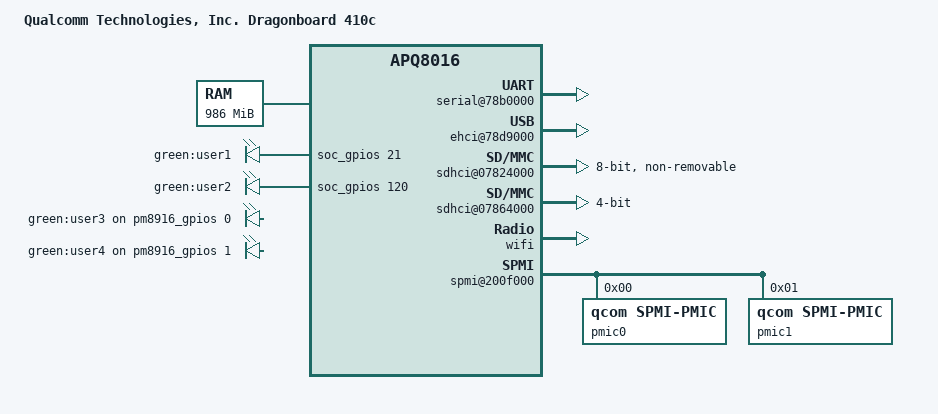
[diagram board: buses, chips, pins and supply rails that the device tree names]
/*
 * Qualcomm APQ8016 based Dragonboard 410C board device tree source
 *
 * (C) Copyright 2015 Mateusz Kulikowski <mateusz.kulikowski@gmail.com>
 *
 * SPDX-License-Identifier:	GPL-2.0+
 */

/dts-v1/;

#include "skeleton64.dtsi"

/ {
	model = "Qualcomm Technologies, Inc. Dragonboard 410c";
	compatible = "qcom,dragonboard", "qcom,apq8016-sbc";
	qcom,msm-id = <0xce 0x0 0xf8 0x0 0xf9 0x0 0xfa 0x0 0xf7 0x0>;
	qcom,board-id = <0x10018 0x0>;
	#address-cells = <0x2>;
	#size-cells = <0x2>;

	memory {
		device_type = "memory";
		reg = <0 0x80000000 0 0x3da00000>;
	};

	reserved-memory {
		#address-cells = <2>;
		#size-cells = <2>;
		ranges;
	};

	chosen {
		stdout-path = "/soc/serial@78b0000";
	};

	soc {
		#address-cells = <0x1>;
		#size-cells = <0x1>;
		ranges = <0x0 0x0 0x0 0xffffffff>;
		compatible = "simple-bus";

		clkc: qcom,gcc@1800000 {
			compatible = "qcom,gcc-apq8016";
			reg = <0x1800000 0x80000>;
			#address-cells = <0x1>;
			#size-cells = <0x0>;
		};

		serial@78b0000 {
			compatible = "qcom,msm-uartdm-v1.4";
			reg = <0x78b0000 0x200>;
			u-boot,dm-pre-reloc;
			clock = <&clkc 4>;
		};

		soc_gpios: pinctrl@1000000 {
			compatible = "qcom,apq8016-pinctrl";
			reg = <0x1000000 0x300000>;
			gpio-controller;
			gpio-count = <122>;
			gpio-bank-name="soc";
			#gpio-cells = <1>;
		};

		ehci@78d9000 {
			compatible = "qcom,ehci-host";
			reg = <0x78d9000 0x400>;
		};

		sdhci@07824000 {
			compatible = "qcom,sdhci-msm-v4";
			reg = <0x7824900 0x11c 0x7824000 0x800>;
			bus-width = <0x8>;
			index = <0x0>;
			non-removable;
			clock = <&clkc 0>;
			clock-frequency = <100000000>;
		};

		sdhci@07864000 {
			compatible = "qcom,sdhci-msm-v4";
			reg = <0x7864900 0x11c 0x7864000 0x800>;
			index = <0x1>;
			bus-width = <0x4>;
			clock = <&clkc 1>;
			clock-frequency = <200000000>;
		};

		wcnss {
			bt {
				compatible="qcom,wcnss-bt";
			};

			wifi {
				compatible="qcom,wcnss-wlan";
			};
		};

		spmi@200f000 {
			compatible = "qcom,spmi-pmic-arb";
			reg = <0x200f800 0x200 0x2400000 0x400000 0x2c00000 0x400000>;
			#address-cells = <0x1>;
			#size-cells = <0x1>;
			pmic0: pm8916@0 {
				compatible = "qcom,spmi-pmic";
				reg = <0x0 0x1>;
				#address-cells = <0x1>;
				#size-cells = <0x1>;

				pm8916_pon: pm8916_pon@800 {
					compatible = "qcom,pm8916-pwrkey";
					reg = <0x800 0x96>;
					#gpio-cells = <2>;
					gpio-controller;
				};

				pm8916_gpios: pm8916_gpios@c000 {
					compatible = "qcom,pm8916-gpio";
					reg = <0xc000 0x400>;
					gpio-controller;
					gpio-count = <4>;
					#gpio-cells = <2>;
					gpio-bank-name="pmic";
				};
			};

			pmic1: pm8916@1 {
				compatible = "qcom,spmi-pmic";
				reg = <0x1 0x1>;
			};
		};
	};

	leds {
		compatible = "gpio-leds";
		user1 {
			label = "green:user1";
			gpios = <&soc_gpios 21 0>;
		};

		user2 {
			label = "green:user2";
			gpios = <&soc_gpios 120 0>;
		};

		user3 {
			label = "green:user3";
			gpios = <&pm8916_gpios 0 0>;
		};

		user4 {
			label = "green:user4";
			gpios = <&pm8916_gpios 1 0>;
		};
	};
};

#include "dragonboard410c-uboot.dtsi"
